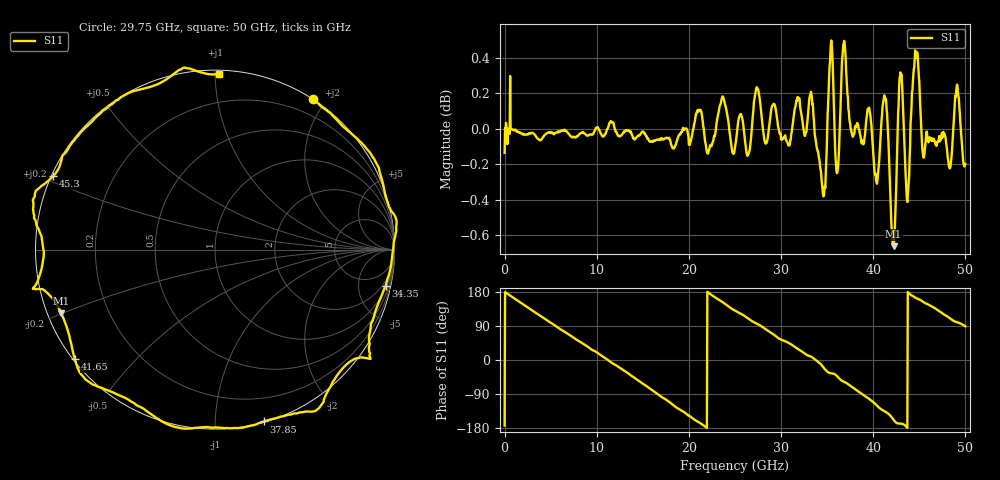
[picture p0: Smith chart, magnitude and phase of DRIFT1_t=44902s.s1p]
!Created with skrf (http://scikit-rf.org).
# Hz S RI R 50.0
!freq ReS11 ImS11
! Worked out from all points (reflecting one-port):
!   1001 points, 300 kHz to 50 GHz, reference 50 ohm
!   lowest |S11| = -0.7 dB at 42.2 GHz (marker M1), VSWR 26.25, Z = 1.98 - j9.92 ohm
!   phase of S11 starts at -173 deg and turns -818 deg over the sweep
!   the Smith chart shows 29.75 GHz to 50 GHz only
!   S11 on the Smith chart (normalised r, x): 29.75 GHz: 0.00, +1.85; 34.35 GHz: 1.32, -9.35; 37.85 GHz: 0.01, -1.33; 41.65 GHz: 0.00, -0.34; 45.3 GHz: 0.01, +0.22; 50 GHz: 0.02, +1.02
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300000  -0.9771 -0.1196
1.450291e9  -0.9125 0.4042
3.25028e9  -0.5926 0.8009
6.250262e9  0.2006 0.9783
9.500243e9  0.8916 0.4442
1.250022e10  0.9321 -0.3486
1.580021e10  0.2402 -0.962
1.73502e10  -0.2084 -0.9714
1.875019e10  -0.5967 -0.7941
2.150017e10  -0.9926 -0.1567
2.350016e10  -0.9248 0.4251
2.500015e10  -0.6351 0.7566
2.740014e10  -0.0985 1.022
2.975012e10  0.5454 0.8371
3.125011e10  0.7852 0.6233
3.31001e10  1.004 0.1829
3.435009e10  0.9501 -0.2015
3.520009e10  0.8589 -0.5691
3.750008e10  0.3782 -0.9293
3.785007e10  0.2739 -0.9575
3.960006e10  -0.2346 -0.9841
4.165005e10  -0.781 -0.6103
4.220005e10  -0.8562 -0.3544
4.290004e10  -1.011 -0.2193
4.375004e10  -0.9575 0.00904
4.530003e10  -0.9012 0.4086
4.770001e10  -0.4953 0.8651
5e10  0.0206 0.977
